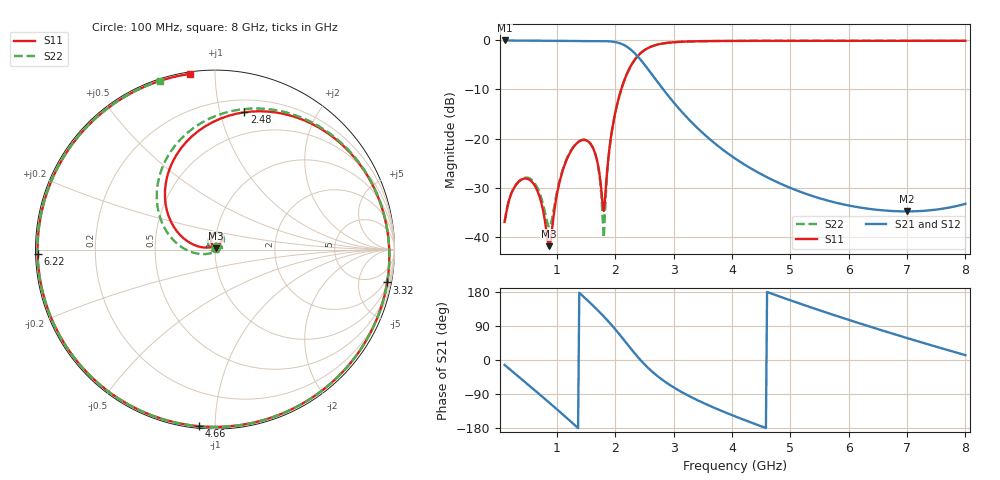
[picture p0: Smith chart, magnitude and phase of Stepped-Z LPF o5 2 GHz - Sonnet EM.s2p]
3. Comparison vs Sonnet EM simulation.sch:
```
<Qucs Schematic 24.2.0>
<Properties>
  <View=-580,-423,2324,1184,0.648373,129,106>
  <Grid=10,10,1>
  <DataSet=3. Comparison vs Sonnet EM simulation.dat>
  <DataDisplay=3. Comparison vs Sonnet EM simulation.dpl>
  <OpenDisplay=0>
  <Script=SteppedLPF_o5_2GHz.m>
  <RunScript=0>
  <showFrame=3>
  <FrameText0=Stepped LPF 2 GHz>
  <FrameText1=Drawn By: Andrés Martínez Mera>
  <FrameText2=Date: 28/03/24>
  <FrameText3=Revision:>
</Properties>
<Symbol>
  <.ID -20 -16 SUB>
  <Line -20 20 40 0 #000080 2 1>
  <Line 20 20 0 -40 #000080 2 1>
  <Line -20 -20 40 0 #000080 2 1>
  <Line -20 20 0 -40 #000080 2 1>
</Symbol>
<Components>
  <Pac P1 1 153 562 18 -26 0 1 "1" 1 "50 Ohm" 1 "0 dBm" 0 "1 GHz" 0 "26.85" 0 "true" 0>
  <GND * 1 153 592 0 0 0 0>
  <SUBST RO4003C 1 393 732 -30 24 0 0 "3.55" 1 "508um" 1 "32um" 1 "0" 1 "1e-10" 1 "0" 1>
  <.SP SP1 1 180 710 0 69 0 0 "lin" 1 "200MHz" 1 "8GHz" 1 "391" 1 "no" 0 "1" 0 "2" 0 "no" 0 "no" 0>
  <MLIN MS1 1 213 412 -26 15 0 0 "RO4003C" 0 "100u" 1 "4.115m" 1 "Hammerstad" 0 "Kirschning" 0 "26.85" 0>
  <MLIN MS2 1 303 412 -26 15 0 0 "RO4003C" 0 "5m" 1 "5.616m" 1 "Hammerstad" 0 "Kirschning" 0 "26.85" 0>
  <MLIN MS3 1 393 412 -26 15 0 0 "RO4003C" 0 "100u" 1 "8.618m" 1 "Hammerstad" 0 "Kirschning" 0 "26.85" 0>
  <MLIN MS4 1 483 412 -26 15 0 0 "RO4003C" 0 "5m" 1 "5.616m" 1 "Hammerstad" 0 "Kirschning" 0 "26.85" 0>
  <MLIN MS5 1 573 412 -26 15 0 0 "RO4003C" 0 "100u" 1 "4.115m" 1 "Hammerstad" 0 "Kirschning" 0 "26.85" 0>
  <Eqn Eqn2 1 543 792 -28 15 0 0 "S21_dB_MS=dB(S[2,1])" 1 "S11_dB_MS=dB(S[1,1])" 1 "yes" 0>
  <GND * 1 280 220 0 0 0 0>
  <Pac P3 1 280 190 18 -26 0 1 "3" 1 "50 Ohm" 1 "0 dBm" 0 "1 GHz" 0 "26.85" 0 "true" 0>
  <GND * 1 550 220 0 0 0 0>
  <Pac P4 1 550 190 18 -26 0 1 "4" 1 "50 Ohm" 1 "0 dBm" 0 "1 GHz" 0 "26.85" 0 "true" 0>
  <GND * 1 410 150 0 0 0 0>
  <SPfile X1 1 410 120 -26 -57 0 0 "Stepped-Z LPF o5 2 GHz - Sonnet EM.s2p" 1 "rectangular" 0 "linear" 0 "open" 0 "2" 0>
  <Eqn Eqn3 1 403 242 -28 15 0 0 "S21_dB_Sonnet=dB(S[4,3])" 1 "S11_dB_Sonnet=dB(S[3,3])" 1 "yes" 0>
  <Pac P2 1 653 552 18 -26 0 1 "2" 1 "50 Ohm" 1 "0 dBm" 0 "1 GHz" 0 "26.85" 0 "true" 0>
  <GND * 1 653 582 0 0 0 0>
</Components>
<Wires>
  <153 412 153 532 "" 0 0 0 "">
  <153 412 183 412 "" 0 0 0 "">
  <243 412 273 412 "" 0 0 0 "">
  <333 412 363 412 "" 0 0 0 "">
  <423 412 453 412 "" 0 0 0 "">
  <513 412 543 412 "" 0 0 0 "">
  <440 120 550 120 "" 0 0 0 "">
  <550 120 550 160 "" 0 0 0 "">
  <280 120 280 160 "" 0 0 0 "">
  <280 120 380 120 "" 0 0 0 "">
  <603 412 653 412 "" 0 0 0 "">
  <653 412 653 522 "" 0 0 0 "">
</Wires>
<Diagrams>
  <Rect 870 495 429 295 3 #c0c0c0 1 00 1 -1 0.2 1 0 -50 5 0 1 -1 0.5 1 315 0 225 1 0 0 "" "" "">
	<"S11_dB_MS" #0000ff 0 3 0 0 0>
	<"S21_dB_MS" #ff0000 0 3 0 0 0>
	<"S11_dB_Sonnet" #0000ff 2 3 0 2 0>
	<"S21_dB_Sonnet" #ff0000 2 3 0 2 0>
  </Rect>
</Diagrams>
<Paintings>
  <Text 1000 420 12 #000000 0 "Sonnet EM simulation">
  <Line 1050 310 0 100 #000000 1 1>
  <Line 980 280 70 130 #000000 1 1>
  <Text 1070 240 12 #000000 0 "Qucs-S MS models">
  <Line 1060 240 -40 -30 #000000 1 1>
  <Line 1060 250 -10 20 #000000 1 1>
</Paintings>
```
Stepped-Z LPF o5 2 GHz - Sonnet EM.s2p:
! Sonnet Data File
! From: sonnet Version : 18.53-Lite
! From Emgraph Data:
! Data File Written: 03/28/2024 08:34:15
!< HDATE 03/28/2024 08:18:05
!< MDATE 03/28/2024 08:18:05
!< PARAMS
!< L1 = 4.11
!< W1 = 0.1
!< W2 = 5.0
!< L3 = 8.62
!< L2 = 5.62
!< END PARAMS
# GHZ S MA R 50.00000
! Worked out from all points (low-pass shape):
!   396 points, 100 MHz to 8 GHz, reference 50 ohm
!   highest |S21| = -0.03 dB at 100 MHz (marker M1); lowest = -34.8 dB at 7 GHz (marker M2)
!   |S21| within 3 dB of the highest: start of sweep to 2.363 GHz
!   lowest |S11| = -41.9 dB at 860 MHz (marker M3), VSWR 1.02, Z = 50.4 + j0.69 ohm
!   |S11| at or under -10 dB: start of sweep to 2.099 GHz
!   |S22| runs from -40.1 to -0.1 dB; largest |S21 - S12| = 1.4e-12
!   S11 on the Smith chart (normalised r, x): 100 MHz: 1.01, +0.03; 2.48 GHz: 0.30, +1.19; 3.32 GHz: 1, -10; 4.66 GHz: 0.01, -0.91; 6.22 GHz: 0.01, -0.01; 8 GHz: 0.01, +0.87
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0.1  0.01424 68.1  0.997 -13.0  0.997 -13.0  0.01432 66.3
0.86  0.008052 58.2  0.9903 -111.8  0.9903 -111.8  0.01256 -103.9
1.8  0.01838 111.9  0.9813 115.0  0.9813 115.0  0.009829 -61.9
1.88  0.06453 169.4  0.9778 101.8  0.9778 101.8  0.06173 -156.1
2.48  0.782 78.0  0.5849 -8.5  0.5849 -8.5  0.7808 82.4
3.32  0.9765 -10.8  0.1439 -99.5  0.1439 -99.5  0.9761 -10.1
4.06  0.9867 -60.3  0.06233 -149.2  0.06233 -149.2  0.9868 -59.7
4.66  0.988 -95.3  0.03883 176.1  0.03883 176.1  0.9887 -93.6
6.22  0.9886 -178.7  0.01979 95.1  0.01979 95.1  0.9892 -171.8
7  0.9885 143.3  0.01817 57.9  0.01817 57.9  0.9891 152.0
8  0.9888 98.0  0.02171 12.8  0.02171 12.8  0.989 108.0
